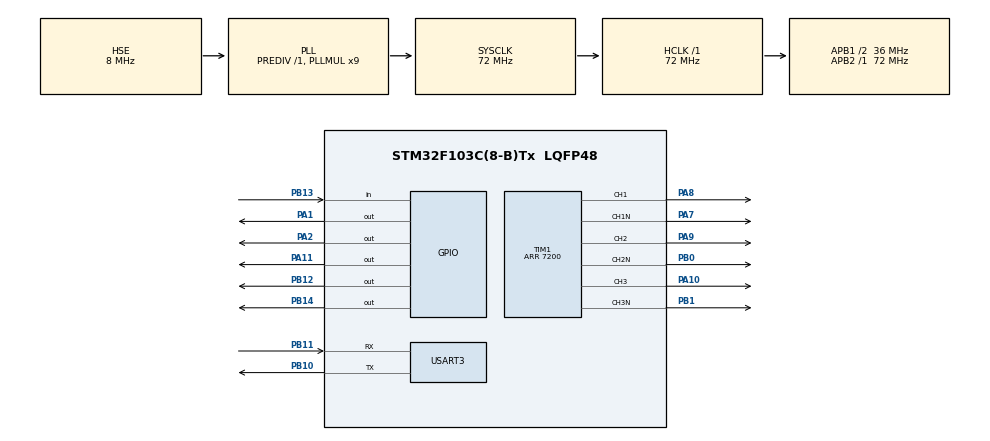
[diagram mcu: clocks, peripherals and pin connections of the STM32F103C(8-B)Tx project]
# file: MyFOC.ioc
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Mcu.Family=STM32F1
Mcu.Name=STM32F103C(8-B)Tx
Mcu.Package=LQFP48
NVIC.PriorityGroup=NVIC_PRIORITYGROUP_4
NVIC.TIM1_UP_IRQn=true\:1\:0\:true\:false\:true\:true\:true\:true
NVIC.TIM2_IRQn=true\:2\:0\:true\:false\:true\:true\:true\:true
PA1.Signal=GPIO_Output
PA10.Signal=S_TIM1_CH3
PA11.PinState=GPIO_PIN_SET
PA11.Signal=GPIO_Output
PA13.Mode=Serial_Wire
PA13.Signal=SYS_JTMS-SWDIO
PA14.Mode=Serial_Wire
PA14.Signal=SYS_JTCK-SWCLK
PA2.GPIO_ModeDefaultOutputPP=GPIO_MODE_OUTPUT_OD
PA2.GPIO_PuPd=GPIO_NOPULL
PA2.PinState=GPIO_PIN_SET
PA2.Signal=GPIO_Output
PA7.Mode=PWM Generation1 CH1 CH1N
PA7.Signal=TIM1_CH1N
PA8.Signal=S_TIM1_CH1
PA9.Signal=S_TIM1_CH2
PB0.Mode=PWM Generation2 CH2 CH2N
PB0.Signal=TIM1_CH2N
PB1.Mode=PWM Generation3 CH3 CH3N
PB1.Signal=TIM1_CH3N
PB10.Mode=Asynchronous
PB10.Signal=USART3_TX
PB11.Mode=Asynchronous
PB11.Signal=USART3_RX
PB12.PinState=GPIO_PIN_SET
PB12.Signal=GPIO_Output
PB13.GPIO_PuPd=GPIO_PULLUP
PB13.Signal=GPIO_Input
PB14.Signal=GPIO_Output
PC14-OSC32_IN.Mode=LSE-External-Oscillator
PC14-OSC32_IN.Signal=RCC_OSC32_IN
PC15-OSC32_OUT.Mode=LSE-External-Oscillator
PC15-OSC32_OUT.Signal=RCC_OSC32_OUT
PD0-OSC_IN.Mode=HSE-External-Oscillator
PD0-OSC_IN.Signal=RCC_OSC_IN
PD1-OSC_OUT.Mode=HSE-External-Oscillator
PD1-OSC_OUT.Signal=RCC_OSC_OUT
ProjectManager.HeapSize=0x200
ProjectManager.StackSize=0x400
ProjectManager.TargetToolchain=MDK-ARM V5.32
RCC.AHBFreq_Value=72000000
RCC.APB1CLKDivider=RCC_HCLK_DIV2
RCC.APB1Freq_Value=36000000
RCC.APB1TimFreq_Value=72000000
RCC.APB2Freq_Value=72000000
RCC.APB2TimFreq_Value=72000000
RCC.HCLKFreq_Value=72000000
RCC.PLLMUL=RCC_PLL_MUL9
RCC.PLLSourceVirtual=RCC_PLLSOURCE_HSE
RCC.SYSCLKFreq_VALUE=72000000
RCC.SYSCLKSource=RCC_SYSCLKSOURCE_PLLCLK
RCC.USBFreq_Value=72000000
SH.S_TIM1_CH1.0=TIM1_CH1,PWM Generation1 CH1 CH1N
SH.S_TIM1_CH2.0=TIM1_CH2,PWM Generation2 CH2 CH2N
SH.S_TIM1_CH3.0=TIM1_CH3,PWM Generation3 CH3 CH3N
TIM1.AutoReloadPreload=TIM_AUTORELOAD_PRELOAD_ENABLE
TIM1.AutomaticOutput=TIM_AUTOMATICOUTPUT_ENABLE
TIM1.Channel-PWM\ Generation1\ CH1\ CH1N=TIM_CHANNEL_1
TIM1.Channel-PWM\ Generation2\ CH2\ CH2N=TIM_CHANNEL_2
TIM1.Channel-PWM\ Generation3\ CH3\ CH3N=TIM_CHANNEL_3
TIM1.CounterMode=TIM_COUNTERMODE_CENTERALIGNED1
TIM1.DeadTime=100
TIM1.Period=7200
TIM1.Pulse-PWM\ Generation1\ CH1\ CH1N=2100
TIM1.Pulse-PWM\ Generation2\ CH2\ CH2N=2100
TIM1.Pulse-PWM\ Generation3\ CH3\ CH3N=2100
TIM1.RepetitionCounter=1
TIM2.Period=999
TIM2.Prescaler=71
USART3.VirtualMode=VM_ASYNC
VP_TIM1_VS_ClockSourceINT.Mode=Internal
VP_TIM2_VS_ClockSourceINT.Mode=Internal
board=custom

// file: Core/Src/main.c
/* USER CODE BEGIN Header */
/**
  ******************************************************************************
  * @file           : main.c
  * @brief          : Main program body
  ******************************************************************************
  * @attention
  *
  * Copyright (c) 2026 STMicroelectronics.
  * All rights reserved.
  *
  * This software is licensed under terms that can be found in the LICENSE file
  * in the root directory of this software component.
  * If no LICENSE file comes with this software, it is provided AS-IS.
  *
  ******************************************************************************
  */
/* USER CODE END Header */
#include "main.h"
#include "tim.h"
#include "usart.h"
#include "gpio.h"

/* USER CODE BEGIN Includes */
#include "as5600.h"
#include "stdio.h"
#include "soft_i2c.h"
#include "foc_config.h"
#include "foc_math.h"
#include "foc_svpwm.h"
#include "foc_encoder.h"
#include "foc_control.h"
#include "foc_pid.h"
/* USER CODE END Includes */

void SystemClock_Config(void);

/* USER CODE BEGIN 0 */
PID_TypeDef speed_pid;

extern float speed_mech;

float speed_target = 8.0f;

/* USER CODE END 0 */

int main(void)
{

  /* MCU Configuration--------------------------------------------------------*/

  /* Reset of all peripherals, Initializes the Flash interface and the Systick. */
  HAL_Init();

  /* Configure the system clock */
  SystemClock_Config();

  /* Initialize all configured peripherals */
  MX_GPIO_Init();
  MX_TIM1_Init();
  MX_USART3_UART_Init();
  MX_TIM2_Init();
  /* USER CODE BEGIN 2 */
DWT_Init();

HAL_TIM_PWM_Start(&htim1, TIM_CHANNEL_1);
HAL_TIMEx_PWMN_Start(&htim1, TIM_CHANNEL_1);

HAL_TIM_PWM_Start(&htim1, TIM_CHANNEL_2);
HAL_TIMEx_PWMN_Start(&htim1, TIM_CHANNEL_2);

HAL_TIM_PWM_Start(&htim1, TIM_CHANNEL_3);
HAL_TIMEx_PWMN_Start(&htim1, TIM_CHANNEL_3);

__HAL_TIM_ENABLE_IT(&htim1, TIM_IT_UPDATE);

HAL_TIM_Base_Start_IT(&htim2);

  /* USER CODE END 2 */

  /* Infinite loop */
  /* USER CODE BEGIN WHILE */
PID_Init(&speed_pid,SPEED_KP,SPEED_KI,SPEED_KD,INT_MAX,OUT_MAX);
	float a;
  while (1)
 {
a=speed_mech;
	 printf("%.4f,%.4f\r\n",speed_target,a);

  }
  /* USER CODE END 3 */
}

void SystemClock_Config(void)
{
  RCC_OscInitTypeDef RCC_OscInitStruct = {0};
  RCC_ClkInitTypeDef RCC_ClkInitStruct = {0};

  /** Initializes the RCC Oscillators according to the specified parameters
  * in the RCC_OscInitTypeDef structure.
  */
  RCC_OscInitStruct.OscillatorType = RCC_OSCILLATORTYPE_HSE;
  RCC_OscInitStruct.HSEState = RCC_HSE_ON;
  RCC_OscInitStruct.HSEPredivValue = RCC_HSE_PREDIV_DIV1;
  RCC_OscInitStruct.HSIState = RCC_HSI_ON;
  RCC_OscInitStruct.PLL.PLLState = RCC_PLL_ON;
  RCC_OscInitStruct.PLL.PLLSource = RCC_PLLSOURCE_HSE;
  RCC_OscInitStruct.PLL.PLLMUL = RCC_PLL_MUL9;
  if (HAL_RCC_OscConfig(&RCC_OscInitStruct) != HAL_OK)
  {
    Error_Handler();
  }

  /** Initializes the CPU, AHB and APB buses clocks
  */
  RCC_ClkInitStruct.ClockType = RCC_CLOCKTYPE_HCLK|RCC_CLOCKTYPE_SYSCLK
                              |RCC_CLOCKTYPE_PCLK1|RCC_CLOCKTYPE_PCLK2;
  RCC_ClkInitStruct.SYSCLKSource = RCC_SYSCLKSOURCE_PLLCLK;
  RCC_ClkInitStruct.AHBCLKDivider = RCC_SYSCLK_DIV1;
  RCC_ClkInitStruct.APB1CLKDivider = RCC_HCLK_DIV2;
  RCC_ClkInitStruct.APB2CLKDivider = RCC_HCLK_DIV1;

  if (HAL_RCC_ClockConfig(&RCC_ClkInitStruct, FLASH_LATENCY_2) != HAL_OK)
  {
    Error_Handler();
  }
}

/* USER CODE BEGIN 4 */
int fputc(int ch,FILE*f)
{
HAL_UART_Transmit(&huart3,(uint8_t*)&ch,1,100);
	return ch;
}

/* USER CODE END 4 */

void Error_Handler(void)
{
  __disable_irq();
  while (1)
  {
  }
}
